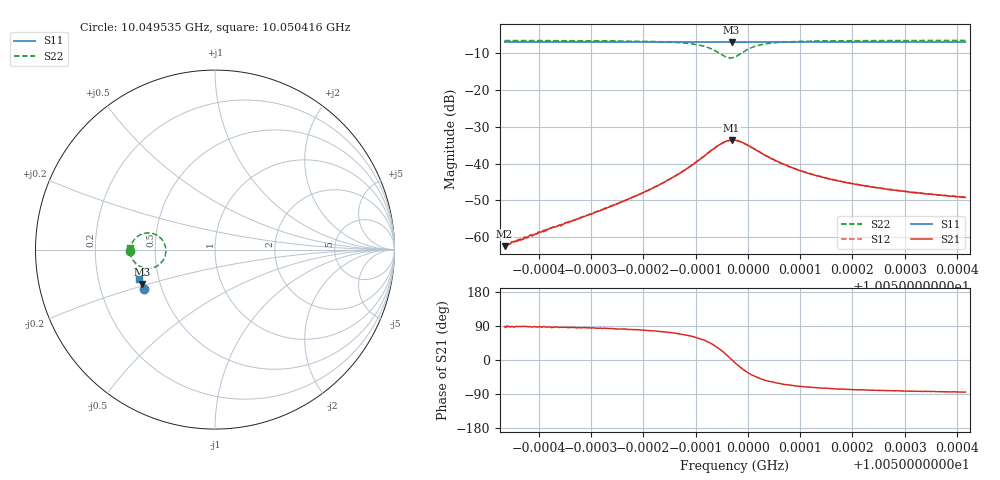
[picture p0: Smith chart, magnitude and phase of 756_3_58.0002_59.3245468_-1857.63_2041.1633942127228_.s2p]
#  HZ  S  RI  R  50.00
! Rohde & Schwarz Vector Network Analyzer
! Rohde-Schwarz,ZNB20-2Port,1311601062101988,3.16
! Created: UTC 3/21/2024, 1:24:12 AM
! freq[Hz]  re:S11  im:S11  re:S21  im:S21  re:S12  im:S12  re:S22  im:S22
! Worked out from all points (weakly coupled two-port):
!   401 points, 10.049535 GHz to 10.050416 GHz, reference 50 ohm
!   highest |S21| = -33.58 dB at 10.049969 GHz (marker M1); lowest = -62.5 dB at 10.049535 GHz (marker M2)
!   lowest |S11| = -6.9 dB at 10.049969 GHz (marker M3), VSWR 2.64, Z = 19.7 - j9.5 ohm
!   |S11| at or under -10 dB: nowhere
!   |S22| runs from -11.3 to -6.5 dB; largest |S21 - S12| = 0.0015
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1.0049535e10  -0.3977 -0.2182  2.35e-05 0.000748  -1.86e-05 0.000759  -0.4736 -0.0091
1.00495526e10  -0.3984 -0.2171  5.63e-05 0.000881  -1.99e-05 0.000857  -0.4735 -0.00707
1.00495791e10  -0.3991 -0.2155  2.53e-05 0.000998  -2.23e-05 0.000972  -0.4732 -0.00382
1.00495945e10  -0.3996 -0.2146  5.22e-05 0.00111  -5.86e-06 0.0011  -0.4728 -0.00182
1.00496826e10  -0.4022 -0.2093  0.000162 0.00183  5.38e-05 0.00188  -0.4708 0.011
1.00497684e10  -0.4046 -0.2042  0.000493 0.00315  0.000347 0.00321  -0.4653 0.0287
1.00498301e10  -0.4062 -0.2002  0.0013 0.00493  0.00102 0.00504  -0.4548 0.0487
1.00498631e10  -0.4071 -0.1981  0.00233 0.00648  0.00197 0.00662  -0.4421 0.0643
1.00498917e10  -0.4078 -0.196  0.00427 0.00831  0.00381 0.00852  -0.4203 0.0804
1.00499292e10  -0.408 -0.1935  0.0108 0.0104  0.0101 0.0108  -0.3557 0.0914
1.00499512e10  -0.4078 -0.1924  0.0175 0.00749  0.017 0.00848  -0.2956 0.0561
1.004996e10  -0.4078 -0.1921  0.0199 0.00441  0.0194 0.00555  -0.2783 0.0245
1.00499688e10  -0.4078 -0.1919  0.0209 0.000513  0.0206 0.00174  -0.2739 -0.0135
1.00499754e10  -0.408 -0.1918  0.0207 -0.00261  0.0206 -0.00118  -0.2803 -0.0417
1.00499974e10  -0.4088 -0.1915  0.0155 -0.0093  0.0162 -0.00817  -0.3378 -0.0986
1.00500283e10  -0.4105 -0.1898  0.00848 -0.0106  0.00918 -0.0101  -0.4076 -0.0986
1.00500569e10  -0.4115 -0.188  0.00511 -0.00937  0.0057 -0.00912  -0.4386 -0.0801
1.00500811e10  -0.4124 -0.1865  0.00369 -0.0082  0.00419 -0.00798  -0.4518 -0.0659
1.0050123e10  -0.4136 -0.1838  0.0022 -0.00677  0.00264 -0.00667  -0.4632 -0.0472
1.00501934e10  -0.4155 -0.1794  0.00118 -0.00527  0.00151 -0.00524  -0.4706 -0.0267
1.00502705e10  -0.4174 -0.1746  0.000711 -0.00433  0.000987 -0.00434  -0.4735 -0.0121
1.00504158e10  -0.4208 -0.1657  0.000325 -0.00344  0.000497 -0.00344  -0.475 0.0068
